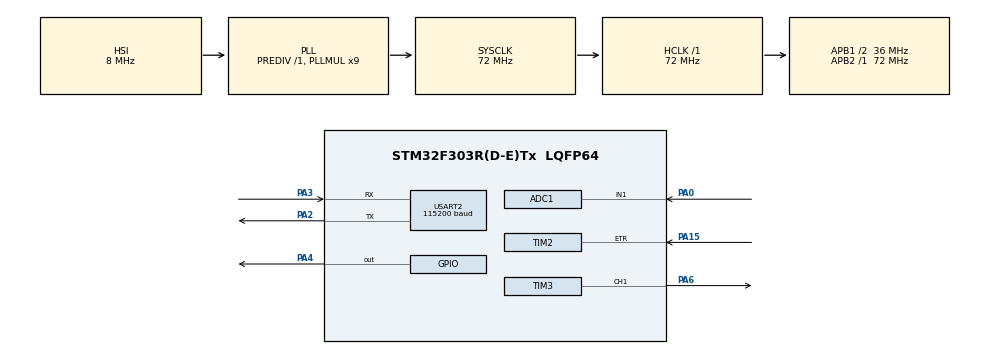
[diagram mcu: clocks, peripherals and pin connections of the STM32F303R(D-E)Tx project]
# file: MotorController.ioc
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ADC1.Channel-2\#ChannelRegularConversion=ADC_CHANNEL_1
ADC1.NbrOfConversionFlag=1
ADC1.Offset-2\#ChannelRegularConversion=0
ADC1.OffsetNumber-2\#ChannelRegularConversion=ADC_OFFSET_NONE
ADC1.Rank-2\#ChannelRegularConversion=1
ADC1.Resolution=ADC_RESOLUTION_10B
ADC1.SamplingTime-2\#ChannelRegularConversion=ADC_SAMPLETIME_61CYCLES_5
ADC1.SamplingTimeOPAMP-2\#ChannelRegularConversion=ADC_SAMPLETIME_61CYCLES_5
ADC1.master=1
Mcu.Family=STM32F3
Mcu.Name=STM32F303R(D-E)Tx
Mcu.Package=LQFP64
NVIC.ADC1_2_IRQn=true\:0\:0\:false\:false\:true\:true\:true\:true
NVIC.PriorityGroup=NVIC_PRIORITYGROUP_4
NVIC.TIM6_DAC_IRQn=true\:0\:0\:false\:false\:true\:true\:true\:true
PA0.Mode=IN1-Single-Ended
PA0.Signal=ADC1_IN1
PA15.Signal=S_TIM2_CH1_ETR
PA2.Mode=Asynchronous
PA2.Signal=USART2_TX
PA3.Mode=Asynchronous
PA3.Signal=USART2_RX
PA4.Signal=GPIO_Output
PA6.Signal=S_TIM3_CH1
ProjectManager.HeapSize=0x200
ProjectManager.StackSize=0x400
ProjectManager.TargetToolchain=STM32CubeIDE
RCC.AHBFreq_Value=72000000
RCC.APB1CLKDivider=RCC_HCLK_DIV2
RCC.APB1Freq_Value=36000000
RCC.APB1TimFreq_Value=72000000
RCC.APB2Freq_Value=72000000
RCC.APB2TimFreq_Value=72000000
RCC.CortexFreq_Value=72000000
RCC.HCLKFreq_Value=72000000
RCC.HSE_VALUE=8000000
RCC.HSI_VALUE=8000000
RCC.LSE_VALUE=32768
RCC.PLLMUL=RCC_PLL_MUL9
RCC.SYSCLKFreq_VALUE=72000000
RCC.SYSCLKSourceVirtual=RCC_SYSCLKSOURCE_PLLCLK
RCC.USBFreq_Value=72000000
SH.S_TIM2_CH1_ETR.0=TIM2_ETR,ClockSourceETR_Mode2
SH.S_TIM3_CH1.0=TIM3_CH1,PWM Generation1 CH1
TIM2.ClockFilter=4
TIM3.Channel-PWM\ Generation1\ CH1=TIM_CHANNEL_1
TIM3.Period=999
TIM3.Prescaler=719
TIM3.Pulse-PWM\ Generation1\ CH1=50
TIM6.AutoReloadPreload=TIM_AUTORELOAD_PRELOAD_ENABLE
TIM6.Period=499
TIM6.Prescaler=7199
USART2.BaudRate=115200
USART2.VirtualMode-Asynchronous=VM_ASYNC
VP_TIM6_VS_ClockSourceINT.Mode=Enable_Timer
board=custom

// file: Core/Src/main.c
/* USER CODE BEGIN Header */
/**
  ******************************************************************************
  * @file           : main.c
  * @brief          : Main program body
  ******************************************************************************
  * @attention
  *
  * Copyright (c) 2026 STMicroelectronics.
  * All rights reserved.
  *
  * This software is licensed under terms that can be found in the LICENSE file
  * in the root directory of this software component.
  * If no LICENSE file comes with this software, it is provided AS-IS.
  *
  ******************************************************************************
  */
/* USER CODE END Header */
#include "main.h"
#include "stdio.h"

/* USER CODE BEGIN PD */
#define TIM_CLOCK_FREQ 72000000 // STM32 TImer clock Frequency is 72MHz

// From the open-loop test: duty_counts ≈ FF_OFFSET + FF_SLOPE * target
#define FF_OFFSET  100.0f
#define FF_SLOPE   0.6f
#define KP         0.15f
#define KI         0.2f
/* USER CODE END PD */

ADC_HandleTypeDef hadc1;

TIM_HandleTypeDef htim2;
TIM_HandleTypeDef htim3;
TIM_HandleTypeDef htim6;

UART_HandleTypeDef huart2;

/* USER CODE BEGIN PV */
volatile uint8_t new_sample = 0;
volatile uint32_t pulses_this_sample = 0;
volatile uint32_t target_pulses_per_sample = 0;
volatile int32_t tim3_on_period = 0;

volatile uint16_t adc_raw = 0;    // latest 10-bit result (0..1023), written in the ADC ISR
volatile uint8_t adc_ready = 0;  // set by the ADC ISR, cleared by main loop

static uint32_t pulse_dc_print_ctr = 0;
static uint32_t adc_print_ctr = 0;
/* USER CODE END PV */

void SystemClock_Config(void);
static void MX_GPIO_Init(void);
static void MX_TIM2_Init(void);
static void MX_TIM6_Init(void);
static void MX_USART2_UART_Init(void);
static void MX_TIM3_Init(void);
static void MX_ADC1_Init(void);
/* USER CODE BEGIN PFP */
void print_pulses_and_dc();
void print_adc();
/* USER CODE END PFP */

int main(void)
{

  /* MCU Configuration--------------------------------------------------------*/

  /* Reset of all peripherals, Initializes the Flash interface and the Systick. */
  HAL_Init();

  /* Configure the system clock */
  SystemClock_Config();

  /* Initialize all configured peripherals */
  MX_GPIO_Init();
  MX_TIM2_Init();
  MX_TIM6_Init();
  MX_USART2_UART_Init();
  MX_TIM3_Init();
  MX_ADC1_Init();
  /* USER CODE BEGIN 2 */
  // F3 ADCs must be calibrated once while disabled, before the first conversion
  if (HAL_ADCEx_Calibration_Start(&hadc1, ADC_SINGLE_ENDED) != HAL_OK)
  {
    Error_Handler();
  }

  HAL_TIM_Base_Start(&htim2);                     // start counting encoder pulses

  __HAL_TIM_CLEAR_FLAG(&htim6, TIM_FLAG_UPDATE);  // avoid an instant first interrupt
  HAL_TIM_Base_Start_IT(&htim6);					 // start interrupt for sampling encoder pulses

  HAL_TIM_PWM_Start(&htim3, TIM_CHANNEL_1);		 // PWM (duty cycle) controller for MOSFET

  float tim6_freq = (TIM_CLOCK_FREQ) / ((1 + htim6.Init.Prescaler) * (1 + htim6.Init.Period));
  /* USER CODE END 2 */

  /* Infinite loop */
  while (1)
  {

    /* USER CODE BEGIN 3 */
	  if (new_sample)
	  {
		  new_sample = 0;

		  // Print the encoder pulse count and TIM3 duty cycle every second
		  if (++pulse_dc_print_ctr >= tim6_freq) {
			  pulse_dc_print_ctr = 0;
			  print_pulses_and_dc();
		  }
	  }

	  if (adc_ready)
	  {
		  adc_ready = 0;

		  // Print the ADC readings every second
		  if (++adc_print_ctr >= tim6_freq) {
			  adc_print_ctr = 0;
			  print_adc();
		  }
	  }
  }
  /* USER CODE END 3 */
}

void SystemClock_Config(void)
{
  RCC_OscInitTypeDef RCC_OscInitStruct = {0};
  RCC_ClkInitTypeDef RCC_ClkInitStruct = {0};
  RCC_PeriphCLKInitTypeDef PeriphClkInit = {0};

  /** Initializes the RCC Oscillators according to the specified parameters
  * in the RCC_OscInitTypeDef structure.
  */
  RCC_OscInitStruct.OscillatorType = RCC_OSCILLATORTYPE_HSI;
  RCC_OscInitStruct.HSIState = RCC_HSI_ON;
  RCC_OscInitStruct.HSICalibrationValue = RCC_HSICALIBRATION_DEFAULT;
  RCC_OscInitStruct.PLL.PLLState = RCC_PLL_ON;
  RCC_OscInitStruct.PLL.PLLSource = RCC_PLLSOURCE_HSI;
  RCC_OscInitStruct.PLL.PLLMUL = RCC_PLL_MUL9;
  RCC_OscInitStruct.PLL.PREDIV = RCC_PREDIV_DIV1;
  if (HAL_RCC_OscConfig(&RCC_OscInitStruct) != HAL_OK)
  {
    Error_Handler();
  }

  /** Initializes the CPU, AHB and APB buses clocks
  */
  RCC_ClkInitStruct.ClockType = RCC_CLOCKTYPE_HCLK|RCC_CLOCKTYPE_SYSCLK
                              |RCC_CLOCKTYPE_PCLK1|RCC_CLOCKTYPE_PCLK2;
  RCC_ClkInitStruct.SYSCLKSource = RCC_SYSCLKSOURCE_PLLCLK;
  RCC_ClkInitStruct.AHBCLKDivider = RCC_SYSCLK_DIV1;
  RCC_ClkInitStruct.APB1CLKDivider = RCC_HCLK_DIV2;
  RCC_ClkInitStruct.APB2CLKDivider = RCC_HCLK_DIV1;

  if (HAL_RCC_ClockConfig(&RCC_ClkInitStruct, FLASH_LATENCY_2) != HAL_OK)
  {
    Error_Handler();
  }
  PeriphClkInit.PeriphClockSelection = RCC_PERIPHCLK_USART2|RCC_PERIPHCLK_ADC12
                              |RCC_PERIPHCLK_TIM2|RCC_PERIPHCLK_TIM34;
  PeriphClkInit.Usart2ClockSelection = RCC_USART2CLKSOURCE_PCLK1;
  PeriphClkInit.Adc12ClockSelection = RCC_ADC12PLLCLK_DIV1;
  PeriphClkInit.Tim2ClockSelection = RCC_TIM2CLK_HCLK;
  PeriphClkInit.Tim34ClockSelection = RCC_TIM34CLK_HCLK;
  if (HAL_RCCEx_PeriphCLKConfig(&PeriphClkInit) != HAL_OK)
  {
    Error_Handler();
  }
}

static void MX_ADC1_Init(void)
{

  ADC_MultiModeTypeDef multimode = {0};
  ADC_ChannelConfTypeDef sConfig = {0};

  /** Common config
  */
  hadc1.Instance = ADC1;
  hadc1.Init.ClockPrescaler = ADC_CLOCK_ASYNC_DIV1;
  hadc1.Init.Resolution = ADC_RESOLUTION_10B;
  hadc1.Init.ScanConvMode = ADC_SCAN_DISABLE;
  hadc1.Init.ContinuousConvMode = DISABLE;
  hadc1.Init.DiscontinuousConvMode = DISABLE;
  hadc1.Init.ExternalTrigConvEdge = ADC_EXTERNALTRIGCONVEDGE_NONE;
  hadc1.Init.ExternalTrigConv = ADC_SOFTWARE_START;
  hadc1.Init.DataAlign = ADC_DATAALIGN_RIGHT;
  hadc1.Init.NbrOfConversion = 1;
  hadc1.Init.DMAContinuousRequests = DISABLE;
  hadc1.Init.EOCSelection = ADC_EOC_SINGLE_CONV;
  hadc1.Init.LowPowerAutoWait = DISABLE;
  hadc1.Init.Overrun = ADC_OVR_DATA_OVERWRITTEN;
  if (HAL_ADC_Init(&hadc1) != HAL_OK)
  {
    Error_Handler();
  }

  /** Configure the ADC multi-mode
  */
  multimode.Mode = ADC_MODE_INDEPENDENT;
  if (HAL_ADCEx_MultiModeConfigChannel(&hadc1, &multimode) != HAL_OK)
  {
    Error_Handler();
  }

  /** Configure Regular Channel
  */
  sConfig.Channel = ADC_CHANNEL_1;
  sConfig.Rank = ADC_REGULAR_RANK_1;
  sConfig.SingleDiff = ADC_SINGLE_ENDED;
  sConfig.SamplingTime = ADC_SAMPLETIME_61CYCLES_5;
  sConfig.OffsetNumber = ADC_OFFSET_NONE;
  sConfig.Offset = 0;
  if (HAL_ADC_ConfigChannel(&hadc1, &sConfig) != HAL_OK)
  {
    Error_Handler();
  }

}

static void MX_TIM2_Init(void)
{

  TIM_ClockConfigTypeDef sClockSourceConfig = {0};
  TIM_MasterConfigTypeDef sMasterConfig = {0};

  htim2.Instance = TIM2;
  htim2.Init.Prescaler = 0;
  htim2.Init.CounterMode = TIM_COUNTERMODE_UP;
  htim2.Init.Period = 4294967295;
  htim2.Init.ClockDivision = TIM_CLOCKDIVISION_DIV1;
  htim2.Init.AutoReloadPreload = TIM_AUTORELOAD_PRELOAD_DISABLE;
  if (HAL_TIM_Base_Init(&htim2) != HAL_OK)
  {
    Error_Handler();
  }
  sClockSourceConfig.ClockSource = TIM_CLOCKSOURCE_ETRMODE2;
  sClockSourceConfig.ClockPolarity = TIM_CLOCKPOLARITY_NONINVERTED;
  sClockSourceConfig.ClockPrescaler = TIM_CLOCKPRESCALER_DIV1;
  sClockSourceConfig.ClockFilter = 4;
  if (HAL_TIM_ConfigClockSource(&htim2, &sClockSourceConfig) != HAL_OK)
  {
    Error_Handler();
  }
  sMasterConfig.MasterOutputTrigger = TIM_TRGO_RESET;
  sMasterConfig.MasterSlaveMode = TIM_MASTERSLAVEMODE_DISABLE;
  if (HAL_TIMEx_MasterConfigSynchronization(&htim2, &sMasterConfig) != HAL_OK)
  {
    Error_Handler();
  }

}

static void MX_TIM3_Init(void)
{

  TIM_MasterConfigTypeDef sMasterConfig = {0};
  TIM_OC_InitTypeDef sConfigOC = {0};

  htim3.Instance = TIM3;
  htim3.Init.Prescaler = 719;
  htim3.Init.CounterMode = TIM_COUNTERMODE_UP;
  htim3.Init.Period = 999;
  htim3.Init.ClockDivision = TIM_CLOCKDIVISION_DIV1;
  htim3.Init.AutoReloadPreload = TIM_AUTORELOAD_PRELOAD_DISABLE;
  if (HAL_TIM_PWM_Init(&htim3) != HAL_OK)
  {
    Error_Handler();
  }
  sMasterConfig.MasterOutputTrigger = TIM_TRGO_RESET;
  sMasterConfig.MasterSlaveMode = TIM_MASTERSLAVEMODE_DISABLE;
  if (HAL_TIMEx_MasterConfigSynchronization(&htim3, &sMasterConfig) != HAL_OK)
  {
    Error_Handler();
  }
  sConfigOC.OCMode = TIM_OCMODE_PWM1;
  sConfigOC.Pulse = 50;
  sConfigOC.OCPolarity = TIM_OCPOLARITY_HIGH;
  sConfigOC.OCFastMode = TIM_OCFAST_DISABLE;
  if (HAL_TIM_PWM_ConfigChannel(&htim3, &sConfigOC, TIM_CHANNEL_1) != HAL_OK)
  {
    Error_Handler();
  }
  HAL_TIM_MspPostInit(&htim3);

}

static void MX_TIM6_Init(void)
{

  TIM_MasterConfigTypeDef sMasterConfig = {0};

  htim6.Instance = TIM6;
  htim6.Init.Prescaler = 7199;
  htim6.Init.CounterMode = TIM_COUNTERMODE_UP;
  htim6.Init.Period = 499;
  htim6.Init.AutoReloadPreload = TIM_AUTORELOAD_PRELOAD_ENABLE;
  if (HAL_TIM_Base_Init(&htim6) != HAL_OK)
  {
    Error_Handler();
  }
  sMasterConfig.MasterOutputTrigger = TIM_TRGO_RESET;
  sMasterConfig.MasterSlaveMode = TIM_MASTERSLAVEMODE_DISABLE;
  if (HAL_TIMEx_MasterConfigSynchronization(&htim6, &sMasterConfig) != HAL_OK)
  {
    Error_Handler();
  }

}

static void MX_USART2_UART_Init(void)
{

  huart2.Instance = USART2;
  huart2.Init.BaudRate = 115200;
  huart2.Init.WordLength = UART_WORDLENGTH_8B;
  huart2.Init.StopBits = UART_STOPBITS_1;
  huart2.Init.Parity = UART_PARITY_NONE;
  huart2.Init.Mode = UART_MODE_TX_RX;
  huart2.Init.HwFlowCtl = UART_HWCONTROL_NONE;
  huart2.Init.OverSampling = UART_OVERSAMPLING_16;
  huart2.Init.OneBitSampling = UART_ONE_BIT_SAMPLE_DISABLE;
  huart2.AdvancedInit.AdvFeatureInit = UART_ADVFEATURE_NO_INIT;
  if (HAL_UART_Init(&huart2) != HAL_OK)
  {
    Error_Handler();
  }

}

static void MX_GPIO_Init(void)
{
  GPIO_InitTypeDef GPIO_InitStruct = {0};

  /* GPIO Ports Clock Enable */
  __HAL_RCC_GPIOA_CLK_ENABLE();

  /*Configure GPIO pin Output Level */
  HAL_GPIO_WritePin(GPIOA, GPIO_PIN_4, GPIO_PIN_RESET);

  /*Configure GPIO pin : PA4 */
  GPIO_InitStruct.Pin = GPIO_PIN_4;
  GPIO_InitStruct.Mode = GPIO_MODE_OUTPUT_PP;
  GPIO_InitStruct.Pull = GPIO_NOPULL;
  GPIO_InitStruct.Speed = GPIO_SPEED_FREQ_LOW;
  HAL_GPIO_Init(GPIOA, &GPIO_InitStruct);

}

/* USER CODE BEGIN 4 */
void HAL_TIM_PeriodElapsedCallback(TIM_HandleTypeDef *htim)
{
  if (htim->Instance == TIM6) {
	// Interrupt to check the encoder pulses from this sample and calculate the ensuing on_period for TIM3
	// NOTE: (tim3_on_period / htim3.Init.Period) * 100 = Duty Cycle for TIM3

	// Set pin PA4 HIGH at the start of the ISR
	HAL_GPIO_WritePin(GPIOA, GPIO_PIN_4, GPIO_PIN_SET);

	// Take the number of pulses (ticks from TIM2) from this sample and reset TIM2
	pulses_this_sample = __HAL_TIM_GET_COUNTER(&htim2);
	TIM2->CNT = 0;

	// Feedforward PID Control
	static float integral = 0.0f;
	const float min_on_period = htim3.Init.Period * 0.05f;
	const float max_on_period = htim3.Init.Period * 0.95f;

	float error = (float)target_pulses_per_sample - (float)pulses_this_sample;
	integral += error;

	float on_period = FF_OFFSET + (FF_SLOPE * target_pulses_per_sample) + (KP * error) + (KI * integral);

	// Clamp PWM between 5-95%
	if (on_period > max_on_period)
	{
		on_period = max_on_period;
		integral -= error;
	}
	if (on_period < min_on_period)
	{
		on_period = min_on_period;
		integral -= error;
	}

	tim3_on_period = (uint32_t)on_period;

	// Set the new on_period to TIM3
	__HAL_TIM_SET_COMPARE(&htim3, TIM_CHANNEL_1, tim3_on_period);

	new_sample = 1;

	// Set pin PA4 LOW at the end of the ISR
	HAL_GPIO_WritePin(GPIOA, GPIO_PIN_4, GPIO_PIN_RESET);

	// Kick off one ADC conversion; HAL_ADC_ConvCpltCallback fires when it's done
	HAL_ADC_Start_IT(&hadc1);
  }
}

void HAL_ADC_ConvCpltCallback(ADC_HandleTypeDef *hadc) {
	// Runs in interrupt context: grab the result and get out
	if (hadc->Instance == ADC1)
	{
		adc_raw = (uint32_t)HAL_ADC_GetValue(hadc);  // already 0..1023 (10-bit)
		target_pulses_per_sample = adc_raw;
		adc_ready = 1;
	}
}

void print_adc() {
	// raw 0..1023 maps linearly onto 0 .. 3.3 V (VDDA on the Nucleo)
	char textbuffer[64];
	uint32_t raw = adc_raw;                 // copy once so ISR can't change it mid-calc
	uint32_t mv  = (raw * 3300u) / 1023u;   // integer millivolts
	int len = snprintf(
		textbuffer, sizeof(textbuffer), "ADC: %4lu / 1023 | %lu.%03lu V\r\n", raw, mv / 1000, mv % 1000
	);
	HAL_UART_Transmit(&huart2, (uint8_t *)textbuffer, len, 100);
}

void print_pulses_and_dc() {
	// Output the No. Pulses from the last ISR Sample and new TIM3 Duty Cycle to CoolTerm
	char textbuffer[64];
	uint32_t duty_cycle = (tim3_on_period * 100) / (htim3.Init.Period + 1);
	int len = snprintf(
		textbuffer, sizeof(textbuffer), "Pulses This Sample: %lu | TIM3 Duty Cycle: %lu%%\r\n", pulses_this_sample, duty_cycle
	);
	HAL_UART_Transmit(&huart2, (uint8_t *)textbuffer, len, 100);
}
/* USER CODE END 4 */

void Error_Handler(void)
{
  __disable_irq();
  while (1)
  {
  }
}
